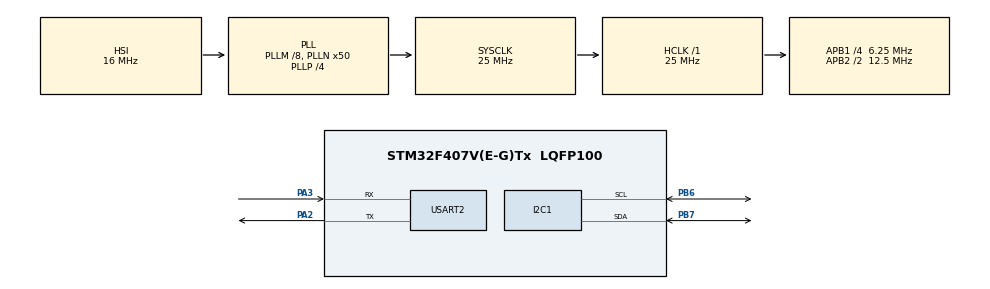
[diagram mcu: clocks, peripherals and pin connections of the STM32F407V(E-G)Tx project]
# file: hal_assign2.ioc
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Mcu.Family=STM32F4
Mcu.Name=STM32F407V(E-G)Tx
Mcu.Package=LQFP100
NVIC.PriorityGroup=NVIC_PRIORITYGROUP_0
PA2.Mode=Asynchronous
PA2.Signal=USART2_TX
PA3.Mode=Asynchronous
PA3.Signal=USART2_RX
PB6.Mode=I2C
PB6.Signal=I2C1_SCL
PB7.Mode=I2C
PB7.Signal=I2C1_SDA
ProjectManager.HeapSize=0x200
ProjectManager.StackSize=0x400
ProjectManager.TargetToolchain=STM32CubeIDE
RCC.48MHZClocksFreq_Value=14285714.285714285
RCC.AHBFreq_Value=25000000
RCC.APB1CLKDivider=RCC_HCLK_DIV4
RCC.APB1Freq_Value=6250000
RCC.APB1TimFreq_Value=12500000
RCC.APB2CLKDivider=RCC_HCLK_DIV2
RCC.APB2Freq_Value=12500000
RCC.APB2TimFreq_Value=25000000
RCC.CortexFreq_Value=25000000
RCC.HCLKFreq_Value=25000000
RCC.HSE_VALUE=8000000
RCC.HSI_VALUE=16000000
RCC.LSE_VALUE=32768
RCC.PLLM=8
RCC.PLLN=50
RCC.PLLP=RCC_PLLP_DIV4
RCC.PLLQ=7
RCC.SYSCLKFreq_VALUE=25000000
RCC.SYSCLKSource=RCC_SYSCLKSOURCE_PLLCLK
RCC.VCOOutputFreq_Value=100000000
USART2.VirtualMode=VM_ASYNC
board=STM32F407G-DISC1

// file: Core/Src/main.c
/* USER CODE BEGIN Header */
/**
  ******************************************************************************
  * @file           : main.c
  * @brief          : Main program body
  ******************************************************************************
  * @attention
  *
  * Copyright (c) 2026 STMicroelectronics.
  * All rights reserved.
  *
  * This software is licensed under terms that can be found in the LICENSE file
  * in the root directory of this software component.
  * If no LICENSE file comes with this software, it is provided AS-IS.
  *
  ******************************************************************************
  */
/* USER CODE END Header */
#include "main.h"

/* USER CODE BEGIN Includes */
#include "lcd.h"
#include<string.h>
/* USER CODE END Includes */

I2C_HandleTypeDef hi2c1;

UART_HandleTypeDef huart2;

void SystemClock_Config(void);
static void MX_GPIO_Init(void);
static void MX_I2C1_Init(void);
static void MX_USART2_UART_Init(void);
/* USER CODE BEGIN PFP */
void get_str(char str[])
{
char ch;
for(int i=0;i<31;i++)
{
HAL_UART_Receive(&huart2,(uint8_t*)&ch,1,HAL_MAX_DELAY);
str[i]=ch;
if(ch=='\r')
{
str[++i]='\n';
str[++i]='\0';
break;
}
}

}

/* USER CODE END PFP */

int main(void)
{

  /* MCU Configuration--------------------------------------------------------*/

  /* Reset of all peripherals, Initializes the Flash interface and the Systick. */
  HAL_Init();

  /* Configure the system clock */
  SystemClock_Config();

  /* Initialize all configured peripherals */
  MX_GPIO_Init();
  MX_I2C1_Init();
  MX_USART2_UART_Init();
  /* USER CODE BEGIN 2 */
  init_lcd();
  char str2[32];
  char str[32];
  //puts_lcd("hello",line1);
  //puts_lcd("tanmay",line2);

  /* USER CODE END 2 */

  /* Infinite loop */
  /* USER CODE BEGIN WHILE */
  while (1)
  {
	  HAL_UART_Transmit(&huart2,(uint8_t*)"Enter a string:", 15, HAL_MAX_DELAY);
      get_str(str);
     // str_cut(str,str2);
      if((str[0]=='L'||str[0]=='l')&&str[1]=='1')
      {
    	  int i,j=0;
      for( i=2;i<strlen(str)-2;i++)
      {
      str2[j++]=str[i];
      }
      str2[j]='\0';
      init_lcd();
      puts_lcd(str2, line1);
      }
      else
      {int i,j=0;
    	  for( i=0;i<strlen(str)-2;i++)
    	  	{
    	  	str2[j++]=str[i];
    	  	}
    	  	str2[j]='\0';
    	  	init_lcd();
    	  	puts_lcd(str2, line2);
      }

      //HAL_UART_Transmit(&huart2,(char*)str, strlen(str), HAL_MAX_DELAY);
    /* USER CODE END WHILE */

  }
}

void SystemClock_Config(void)
{
  RCC_OscInitTypeDef RCC_OscInitStruct = {0};
  RCC_ClkInitTypeDef RCC_ClkInitStruct = {0};

  /** Configure the main internal regulator output voltage
  */
  __HAL_RCC_PWR_CLK_ENABLE();
  __HAL_PWR_VOLTAGESCALING_CONFIG(PWR_REGULATOR_VOLTAGE_SCALE1);

  /** Initializes the RCC Oscillators according to the specified parameters
  * in the RCC_OscInitTypeDef structure.
  */
  RCC_OscInitStruct.OscillatorType = RCC_OSCILLATORTYPE_HSI;
  RCC_OscInitStruct.HSIState = RCC_HSI_ON;
  RCC_OscInitStruct.HSICalibrationValue = RCC_HSICALIBRATION_DEFAULT;
  RCC_OscInitStruct.PLL.PLLState = RCC_PLL_ON;
  RCC_OscInitStruct.PLL.PLLSource = RCC_PLLSOURCE_HSI;
  RCC_OscInitStruct.PLL.PLLM = 8;
  RCC_OscInitStruct.PLL.PLLN = 50;
  RCC_OscInitStruct.PLL.PLLP = RCC_PLLP_DIV4;
  RCC_OscInitStruct.PLL.PLLQ = 7;
  if (HAL_RCC_OscConfig(&RCC_OscInitStruct) != HAL_OK)
  {
    Error_Handler();
  }

  /** Initializes the CPU, AHB and APB buses clocks
  */
  RCC_ClkInitStruct.ClockType = RCC_CLOCKTYPE_HCLK|RCC_CLOCKTYPE_SYSCLK
                              |RCC_CLOCKTYPE_PCLK1|RCC_CLOCKTYPE_PCLK2;
  RCC_ClkInitStruct.SYSCLKSource = RCC_SYSCLKSOURCE_PLLCLK;
  RCC_ClkInitStruct.AHBCLKDivider = RCC_SYSCLK_DIV1;
  RCC_ClkInitStruct.APB1CLKDivider = RCC_HCLK_DIV4;
  RCC_ClkInitStruct.APB2CLKDivider = RCC_HCLK_DIV2;

  if (HAL_RCC_ClockConfig(&RCC_ClkInitStruct, FLASH_LATENCY_0) != HAL_OK)
  {
    Error_Handler();
  }
}

static void MX_I2C1_Init(void)
{

  hi2c1.Instance = I2C1;
  hi2c1.Init.ClockSpeed = 100000;
  hi2c1.Init.DutyCycle = I2C_DUTYCYCLE_2;
  hi2c1.Init.OwnAddress1 = 0;
  hi2c1.Init.AddressingMode = I2C_ADDRESSINGMODE_7BIT;
  hi2c1.Init.DualAddressMode = I2C_DUALADDRESS_DISABLE;
  hi2c1.Init.OwnAddress2 = 0;
  hi2c1.Init.GeneralCallMode = I2C_GENERALCALL_DISABLE;
  hi2c1.Init.NoStretchMode = I2C_NOSTRETCH_DISABLE;
  if (HAL_I2C_Init(&hi2c1) != HAL_OK)
  {
    Error_Handler();
  }

}

static void MX_USART2_UART_Init(void)
{

  huart2.Instance = USART2;
  huart2.Init.BaudRate = 115200;
  huart2.Init.WordLength = UART_WORDLENGTH_8B;
  huart2.Init.StopBits = UART_STOPBITS_1;
  huart2.Init.Parity = UART_PARITY_NONE;
  huart2.Init.Mode = UART_MODE_TX_RX;
  huart2.Init.HwFlowCtl = UART_HWCONTROL_NONE;
  huart2.Init.OverSampling = UART_OVERSAMPLING_16;
  if (HAL_UART_Init(&huart2) != HAL_OK)
  {
    Error_Handler();
  }

}

static void MX_GPIO_Init(void)
{

  /* GPIO Ports Clock Enable */
  __HAL_RCC_GPIOA_CLK_ENABLE();
  __HAL_RCC_GPIOB_CLK_ENABLE();

}

void Error_Handler(void)
{
  __disable_irq();
  while (1)
  {
  }
}
